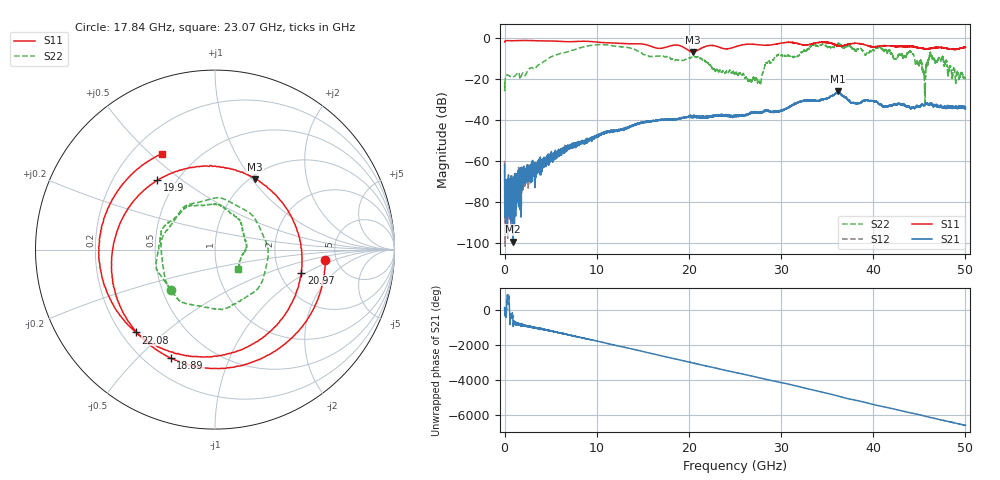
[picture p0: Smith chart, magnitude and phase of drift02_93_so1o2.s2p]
!Created with skrf (http://scikit-rf.org).
# Hz S RI R 50.0
!freq ReS11 ImS11 ReS21 ImS21 ReS12 ImS12 ReS22 ImS22
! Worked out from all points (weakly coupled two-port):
!   10001 points, 300 kHz to 50 GHz, reference 50 ohm
!   highest |S21| = -26.25 dB at 36.13 GHz (marker M1); lowest = -99.5 dB at 910.3 MHz (marker M2)
!   lowest |S11| = -6.9 dB at 20.4 GHz (marker M3), VSWR 2.64, Z = 52.6 + j51.8 ohm
!   |S11| at or under -10 dB: nowhere
!   |S22| runs from -33.5 to -2.7 dB; largest |S21 - S12| = 0.0053
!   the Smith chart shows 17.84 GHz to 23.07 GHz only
!   S11 on the Smith chart (normalised r, x): 17.84 GHz: 4.09, -0.75; 18.89 GHz: 0.30, -0.63; 19.9 GHz: 0.40, +0.41; 20.97 GHz: 2.64, -0.90; 22.08 GHz: 0.26, -0.40; 23.07 GHz: 0.32, +0.54
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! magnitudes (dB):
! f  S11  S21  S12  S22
! 300 kHz  -2.1  -62.1  -60.1  -21.6
! 255.3 MHz  -1.4  -83.8  -71.6  -18.2
! 910.3 MHz  -1.5  -99.5  -70.9  -19.1
! 8.335 GHz  -1.7  -51.6  -51.4  -4.7
! 16.67 GHz  -5.2  -40.1  -40.1  -9.0
! 17.84 GHz  -4.2  -39.9  -39.8  -9.6
! 18.89 GHz  -3.7  -39.7  -39.6  -10.8
! 19.9 GHz  -6.0  -38.7  -38.7  -9.9
! 20.4 GHz  -6.9  -39.1  -38.3  -9.7
! 20.97 GHz  -6.0  -38.3  -38.7  -9.2
! 22.08 GHz  -3.9  -38.5  -38.9  -12.3
! 23.07 GHz  -4.3  -38.0  -37.9  -15.5
! 25 GHz  -4.4  -38.3  -38.2  -17.8
! 27.63 GHz  -3.5  -36.6  -36.5  -21.2
! 29.54 GHz  -3.0  -35.8  -36.0  -8.8
! 33.34 GHz  -3.0  -30.6  -30.6  -3.8
! 36.13 GHz  -3.9  -26.3  -26.8  -3.1
! 41.67 GHz  -3.9  -33.4  -33.2  -5.9
! 44.16 GHz  -4.0  -34.0  -34.3  -7.1
! 45.51 GHz  -5.2  -32.9  -33.2  -17.1
! 46.27 GHz  -5.2  -32.3  -32.3  -8.8
! 50 GHz  -4.7  -33.9  -34.6  -19.9
